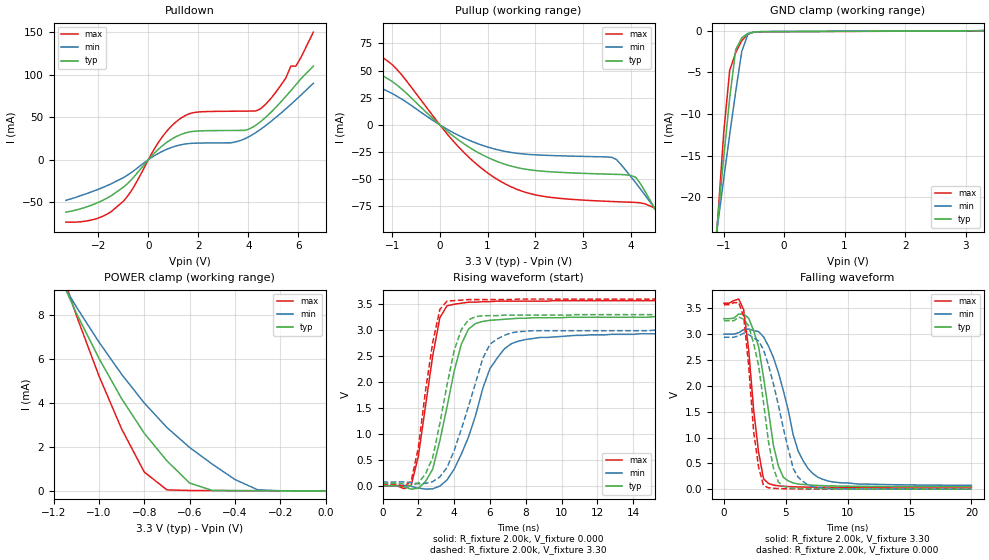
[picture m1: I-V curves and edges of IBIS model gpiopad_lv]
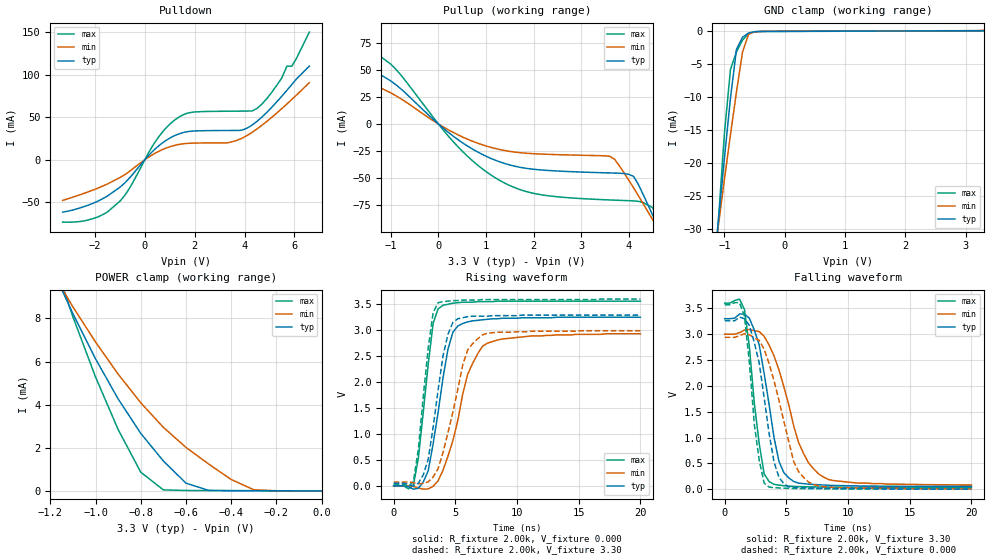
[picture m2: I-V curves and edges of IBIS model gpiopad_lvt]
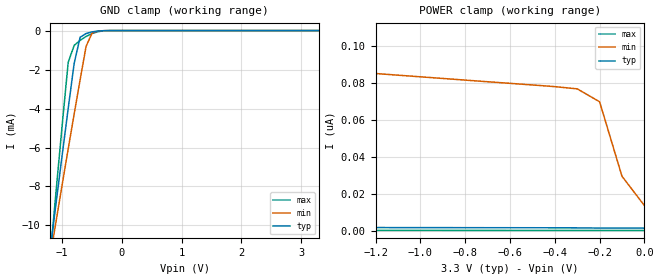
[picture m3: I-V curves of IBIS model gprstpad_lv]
| IBIS file m32a3t44.ibs created by s2ibis2 version 1.1
| North Carolina State University Electronics Research Laboratory  1995
[IBIS ver]   2.1
[File name]   m32a3t44.ibs
[File Rev]   1.0
[Date]   September 4, 2008
[Source]   Lars Snith
[Notes]   Property of Atmel Corporation
[Disclaimer] (C) Copyright ATMEL Norway 2006 Atmel Norway makes no warranty
                 for the use of its products, other than those explicitly
                 stated in the Company's standard warranty which is detailed in
                 Atmel's Terms and Conditions located on the Company's web
                 site. The Company assumes no responsibility for any errors
                 which may appear in this document. The user is granted this
                 license only to use the IBIS model and is not granted rights
                 to sell, load, rent, lease or license the IBIS model in whole
                 or in part, or in modified form to anyone other than user.
                 User may modify the IBIS model to suit its specific
                 applications but rights to derivative works and such
                 modifications shall belong to Atmel Norway. This IBIS model is
                 provided on an \"AS IS\" basis and Atmel Norway makes
                 absolutely no warranty with respect to the information
                 contained herein.
[Copyright]   Copyright (c) 2008 by ATMEL Norway
|   Component atmega32a_33_tqfp44
[Component]   atmega32a_33_tqfp44
[Manufacturer]   Atmel Corp.
[Package]
| variable   typ   min   max
R_pkg   17.30m   14.80m   19.80m
L_pkg   1.34nH   1.11nH   1.57nH
C_pkg   0.39pF   0.34pF   0.43pF
[Pin]  signal_name   model_name   R_pin   L_pin   C_pin
1   PB5   gpiopad_lv
| db5  db5   dummy
| enb5 enb5   dummy
2   PB6   gpiopad_lv
| db6  db6   dummy
| enb6 enb6   dummy
3   PB7   gpiopad_lv
| db7  db7   dummy
| enb7 enb7   dummy
4   RESET   gprstpad_lv
5   VCC   POWER
6   GND   GND
7   XTAL2   xtalpad_lv
| dx2  dx2   dummy
| enx2 enx2   dummy
8   XTAL1   xtalpad_lv
| dx1  dx1   dummy
| enx1 enx1   dummy
9   PD0   gpiopad_lv
| dd0  dd0   dummy
| end0 end0   dummy
10   PD1   gpiopad_lv
| dd1  dd1   dummy
| end1 end1   dummy
11   PD2   gpiopad_lv
| dd2  dd2   dummy
| end2 end2   dummy
12   PD3   gpiopad_lv
| dd3  dd3   dummy
| end3 end3   dummy
13   PD4   gpiopad_lv
| dd4  dd4   dummy
| end4 end4   dummy
14   PD5   gpiopad_lv
| dd5  dd5   dummy
| end5 end5   dummy
15   PD6   gpiopad_lv
| dd6  dd6   dummy
| end6 end6   dummy
16   PD7   gpiopad_lv
| dd7  dd7   dummy
| end7 end7   dummy
17   VCC   POWER
18   GND   GND
19   PC0   gpiopad_lvt
| dc0  dc0   dummy
| enc0 enc0   dummy
20   PC1   gpiopad_lvt
| dc1  dc1   dummy
| enc1 enc1   dummy
21   PC2   gpiopad_lv
| dc2  dc2   dummy
| enc2 enc2   dummy
22   PC3   gpiopad_lv
| dc3  dc3   dummy
| enc3 enc3   dummy
23   PC4   gpiopad_lv
| dc4  dc4   dummy
| enc4 enc4   dummy
24   PC5   gpiopad_lv
| dc5  dc5   dummy
| enc5 enc5   dummy
25   PC6   gpiopad_lv
| dc6  dc6   dummy
| enc6 enc6   dummy
26   PC7   gpiopad_lv
| dc7  dc7   dummy
| enc7 enc7   dummy
27   AVCC   POWER
28   GND   GND
29   AREF   gpiopad_aref_lv
| darefdaref   dummy
| enarfenarf   dummy
30   PA7   gpiopad_lv
| da7  da7   dummy
| ena7 ena7   dummy
31   PA6   gpiopad_lv
| da6  da6   dummy
| ena6 ena6   dummy
32   PA5   gpiopad_lv
| da5  da5   dummy
| ena5 ena5   dummy
33   PA4   gpiopad_lv
| da4  da4   dummy
| ena4 ena4   dummy
34   PA3   gpiopad_lv
| da3  da3   dummy
| ena3 ena3   dummy
35   PA2   gpiopad_lv
| da2  da2   dummy
| ena2 ena2   dummy
36   PA1   gpiopad_lv
| da1  da1   dummy
| ena1 ena1   dummy
37   PA0   gpiopad_lv
| da0  da0   dummy
| ena0 ena0   dummy
38   VCC   POWER
39   GND   GND
40   PB0   gpiopad_lv
| db0  db0   dummy
| enb0 enb0   dummy
41   PB1   gpiopad_lv
| db1  db1   dummy
| enb1 enb1   dummy
42   PB2   gpiopad_lv
| db2  db2   dummy
| enb2 enb2   dummy
43   PB3   gpiopad_lv
| db3  db3   dummy
| enb3 enb3   dummy
44   PB4   gpiopad_lv
| Models and submodels in the file (5): gpiopad_lv (I/O), gpiopad_aref_lv (I/O), gpiopad_lvt (I/O), gprstpad_lv (Input), xtalpad_lv (I/O)
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| db4  db4   dummy
| enb4 enb4   dummy
|   Model gpiopad_lv
[Model]   gpiopad_lv
Model_type   I/O
Polarity   Non-Inverting
Enable   Active-High
Vinl =   0.99V
Vinh =   2.31V
Vmeas =   1.65V
Cref =  50.00pF
C_comp   3.86pF   3.86pF   4.44pF
[Temperature Range]   27.00   0.12k   -55.00
[Voltage Range]   3.30V   3.00V   3.60V
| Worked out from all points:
|   slope of the pulldown table from 0 to 0.495 V, typ, clamps not added: 33.5 ohm
|   slope of the pullup table from 0 to 0.495 V, typ, clamps not added: 28.9 ohm
|   GND clamp passes 1 mA (typ) near -0.71 V on its own axis
|   POWER clamp passes 1 mA (typ) near -0.66 V on its own axis
|   rising waveform, R_fixture 2.00k, V_fixture 0.000: 20-80 % time 1.26ns typ, 1.81ns min, 933ps max; typ from 0 V to 3.26 V
|   rising waveform, R_fixture 2.00k, V_fixture 3.30: 20-80 % time 1.14ns typ, 1.59ns min, 877ps max; typ from 0.048 V to 3.3 V
|   falling waveform, R_fixture 2.00k, V_fixture 3.30: 20-80 % time 1.28ns typ, 1.98ns min, 884ps max; typ from 3.3 V to 0.048 V
|   falling waveform, R_fixture 2.00k, V_fixture 0.000: 20-80 % time 1.21ns typ, 1.75ns min, 832ps max; typ from 3.26 V to 0 V
[Pulldown]
| voltage   I(typ)   I(min)   I(max)
-3.3V     -61.5mA    -47.6mA    -73.2mA
-1.9V     -48.71mA   -33.44mA   -67.3mA
-1V       -32.22mA   -20.91mA   -48.63mA
500mV     14.99mA    9.09mA     24.63mA
1.4V      30.77mA    18.2mA     50.7mA
3.4V      34.44mA    20.44mA    57.06mA
3.9V      34.87mA    25.29mA    57.19mA
4.5V      45.02mA    36.01mA    60.17mA
5.3V      67.97mA    54.71mA    87.56mA
5.7V      81.23mA    65.08mA    110mA
5.9V      88.09mA    70.44mA    110mA
6.6V      110mA      89.91mA    150mA
[Pullup]
| voltage   I(typ)   I(min)   I(max)
-3.3V     73.26mA    61.97mA    90.3mA
-2.3V     66.32mA    52.27mA    85.8mA
-1.5V     53.29mA    39.65mA    72.08mA
-900mV    36.66mA    26.4mA     51.05mA
600mV     -20.16mA   -13.88mA   -29.46mA
1.6V      -39.09mA   -26.03mA   -59mA
3.6V      -45.39mA   -29.85mA   -70.47mA
4.1V      -48.09mA   -53.18mA   -71.32mA
4.5V      -76.74mA   -76.83mA   -76.49mA
4.7V      -92.84mA   -89.13mA   -94.91mA
4.9V      -110mA     -100mA     -120mA
6.6V      -260mA     -210mA     -320mA
[GND_clamp]
| voltage   I(typ)   I(min)   I(max)
-3.3V     -210mA     -160mA     -280mA
-1.2V     -30.51mA   -29.1mA    -33.74mA
-1.1V     -22.82mA   -23.41mA   -22.9mA
-1V       -15.31mA   -17.85mA   -12.37mA
-900mV    -8.07mA    -12.47mA   -4.75mA
-800mV    -2.26mA    -7.27mA    -2.61mA
-700mV    -840uA     -2.47mA    -1.19mA
-600mV    -310uA     -450uA     -400uA
-500mV    -150uA     -150uA     -160uA
-400mV    -120uA     -100uA     -130uA
3.3V      66.98pA    51.32uA    -9.62uA
[POWER_clamp]
| voltage   I(typ)   I(min)   I(max)
-3.3V     76.44mA    60.63mA    100mA
-1.2V     10.39mA    10.13mA    11.12mA
-1.1V     8.12mA     8.4mA      8.02mA
-1V       6.05mA     6.79mA     5.25mA
-900mV    4.21mA     5.32mA     2.83mA
-800mV    2.63mA     4.01mA     860uA
-700mV    1.37mA     2.89mA     47.27uA
-600mV    360uA      1.98mA     20.14uA
-500mV    23.78uA    1.22mA     16.05uA
-400mV    12.49uA    520uA      12.83uA
-300mV    9.23uA     51.32uA    9.62uA
0V        66.98pA    1.79nA     29.01pA
[Ramp]
| variable   typ   min   max
dV/dt_r   1.95/1.20n   1.76/1.86n   2.14/0.77n
dV/dt_f   1.95/1.23n   1.76/2.00n   2.14/0.76n
R_load = 2.00k
[Rising Waveform]
R_fixture = 2.00k
V_fixture = 0.000
V_fixture_min = 0.000
V_fixture_max = 0.000
| time   V(typ)   V(min)   V(max)
0s        0V         0V         0V
1.6ns     -66.01mV   -11.99mV   9.45mV
2ns       -46.91mV   -43.68mV   570mV
2.8ns     320mV      -60.31mV   2.5V
3.2ns     870mV      -5.7mV     3.24V
3.6ns     1.52V      110mV      3.47V
4.8ns     3.02V      940mV      3.54V
6ns       3.19V      2.26V      3.55V
7.2ns     3.22V      2.74V      3.56V
20ns      3.26V      2.94V      3.57V
[Rising Waveform]
R_fixture = 2.00k
V_fixture = 3.30
V_fixture_min = 3.00
V_fixture_max = 3.60
| time   V(typ)   V(min)   V(max)
0s        47.89mV    71.43mV    31.59mV
1.6ns     -3.96mV    59.91mV    88.03mV
2.8ns     540mV      78.61mV    2.76V
3.2ns     1.2V       170mV      3.4V
3.6ns     1.94V      350mV      3.56V
4ns       2.61V      680mV      3.57V
4.8ns     3.2V       1.53V      3.59V
5.6ns     3.28V      2.46V      3.59V
6.8ns     3.29V      2.9V       3.59V
20ns      3.3V       3V         3.6V
[Falling Waveform]
R_fixture = 2.00k
V_fixture = 3.30
V_fixture_min = 3.00
V_fixture_max = 3.60
| time   V(typ)   V(min)   V(max)
0s        3.3V       3V         3.6V
1.6ns     3.39V      3.09V      3.47V
2.8ns     2.76V      3.05V      720mV
3.2ns     2.17V      2.95V      200mV
3.6ns     1.52V      2.77V      110mV
4ns       850mV      2.55V      79.08mV
4.8ns     230mV      1.91V      55.96mV
6ns       99.86mV    740mV      42.77mV
7.6ns     71.85mV    230mV      36.6mV
20ns      48.18mV    74.45mV    31.6mV
[Falling Waveform]
R_fixture = 2.00k
V_fixture = 0.000
V_fixture_min = 0.000
V_fixture_max = 0.000
| time   V(typ)   V(min)   V(max)
0s        3.26V      2.94V      3.57V
1.2ns     3.33V      2.97V      3.61V
1.6ns     3.29V      3.02V      3.34V
2.4ns     2.82V      2.93V      1.12V
3.2ns     1.68V      2.7V       70.18mV
3.6ns     920mV      2.4V       26.58mV
4.4ns     140mV      1.63V      12.07mV
5.6ns     17.65mV    400mV      5.99mV
6.8ns     9.23mV     78.48mV    3.71mV
20ns      96.93uV    790uV      1.18uV
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|   Model gpiopad_lvt
[Model]   gpiopad_lvt
Model_type   I/O
Polarity   Non-Inverting
Enable   Active-High
Vinl =   0.99V
Vinh =   2.31V
Vmeas =   1.65V
Cref =  50.00pF
C_comp   4.09pF   4.08pF   4.65pF
[Temperature Range]   27.00   0.12k   -55.00
[Voltage Range]   3.30V   3.00V   3.60V
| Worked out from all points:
|   slope of the pulldown table from 0 to 0.495 V, typ, clamps not added: 33.5 ohm
|   slope of the pullup table from 0 to 0.495 V, typ, clamps not added: 28.9 ohm
|   GND clamp passes 1 mA (typ) near -0.70 V on its own axis
|   POWER clamp passes 1 mA (typ) near -0.66 V on its own axis
|   rising waveform, R_fixture 2.00k, V_fixture 0.000: 20-80 % time 1.3ns typ, 1.95ns min, 975ps max; typ from 0 V to 3.25 V
|   rising waveform, R_fixture 2.00k, V_fixture 3.30: 20-80 % time 1.21ns typ, 1.69ns min, 919ps max; typ from 0.048 V to 3.29 V
|   falling waveform, R_fixture 2.00k, V_fixture 3.30: 20-80 % time 1.36ns typ, 2.21ns min, 962ps max; typ from 3.3 V to 0.054 V
|   falling waveform, R_fixture 2.00k, V_fixture 0.000: 20-80 % time 1.28ns typ, 1.84ns min, 889ps max; typ from 3.26 V to 0.006 V
[Pulldown]
| voltage   I(typ)   I(min)   I(max)
-3.3V     -61.5mA    -47.7mA    -73.2mA
-1.9V     -48.8mA    -33.5mA    -67.3mA
-1V       -32.22mA   -20.92mA   -48.64mA
500mV     14.99mA    9.09mA     24.63mA
1.4V      30.77mA    18.2mA     50.7mA
3.4V      34.44mA    20.46mA    57.06mA
3.9V      34.88mA    25.4mA     57.19mA
4.5V      45.14mA    36.24mA    60.2mA
5.3V      68.25mA    55.09mA    87.75mA
5.7V      81.59mA    65.54mA    110mA
5.9V      88.49mA    70.94mA    110mA
6.6V      110mA      90.55mA    150mA
[Pullup]
| voltage   I(typ)   I(min)   I(max)
-3.3V     73.22mA    62mA       90.3mA
-2.3V     66.38mA    52.27mA    85.79mA
-1.5V     53.29mA    39.65mA    72.08mA
-900mV    36.66mA    26.4mA     51.06mA
500mV     -17.27mA   -11.92mA   -25.17mA
1.5V      -38mA      -25.4mA    -57.12mA
2.2V      -42.77mA   -27.95mA   -65.93mA
3.6V      -45.39mA   -29.96mA   -70.47mA
4.1V      -48.66mA   -59.3mA    -71.33mA
4.5V      -84.63mA   -88.97mA   -77.63mA
4.7V      -100mA     -100mA     -100mA
6.6V      -310mA     -260mA     -380mA
[GND_clamp]
| voltage   I(typ)   I(min)   I(max)
-3.3V     -260mA     -200mA     -350mA
-1.2V     -38.4mA    -36.69mA   -42.33mA
-1.1V     -28.75mA   -29.53mA   -28.77mA
-1V       -19.36mA   -22.54mA   -15.6mA
-900mV    -10.25mA   -15.78mA   -5.89mA
-800mV    -2.83mA    -9.26mA    -3.19mA
-700mV    -1mA       -3.24mA    -1.43mA
-600mV    -350uA     -550uA     -450uA
-500mV    -150uA     -170uA     -170uA
-300mV    -110uA     -93.79uA   -120uA
3.3V      86.18pA    54.02uA    -9.62uA
[POWER_clamp]
| voltage   I(typ)   I(min)   I(max)
-3.3V     76.98mA    61.2mA     100mA
-1.2V     10.51mA    10.3mA     11.2mA
-1.1V     8.22mA     8.54mA     8.08mA
-1V       6.13mA     6.91mA     5.29mA
-900mV    4.27mA     5.42mA     2.85mA
-800mV    2.67mA     4.09mA     870uA
-700mV    1.39mA     2.95mA     47.56uA
-600mV    360uA      2.02mA     20.14uA
-500mV    24.32uA    1.25mA     16.05uA
-400mV    12.5uA     530uA      12.83uA
-300mV    9.23uA     54.02uA    9.62uA
0V        86.19pA    2.16nA     43.32pA
[Ramp]
| variable   typ   min   max
dV/dt_r   1.95/1.27n   1.76/1.95n   2.14/0.81n
dV/dt_f   1.95/1.34n   1.75/2.18n   2.14/0.81n
R_load = 2.00k
[Rising Waveform]
R_fixture = 2.00k
V_fixture = 0.000
V_fixture_min = 0.000
V_fixture_max = 0.000
| time   V(typ)   V(min)   V(max)
0s        0V         0V         0V
1.6ns     -64.35mV   -11.37mV   5.13mV
2ns       -47.66mV   -42.2mV    530mV
2.8ns     290mV      -59.65mV   2.34V
3.2ns     810mV      -8.62mV    3.13V
3.6ns     1.41V      96.72mV    3.41V
4.8ns     2.96V      870mV      3.52V
6ns       3.16V      2.15V      3.54V
7.2ns     3.2V       2.69V      3.55V
20ns      3.25V      2.93V      3.56V
[Rising Waveform]
R_fixture = 2.00k
V_fixture = 3.30
V_fixture_min = 3.00
V_fixture_max = 3.60
| time   V(typ)   V(min)   V(max)
0s        47.89mV    71.43mV    31.59mV
1.6ns     -2.86mV    60.47mV    82.34mV
2ns       50.33mV    40.19mV    700mV
2.8ns     510mV      76.37mV    2.65V
3.2ns     1.13V      170mV      3.34V
3.6ns     1.84V      330mV      3.53V
4.8ns     3.15V      1.42V      3.57V
6ns       3.26V      2.62V      3.58V
7.2ns     3.27V      2.91V      3.59V
20ns      3.29V      2.99V      3.6V
[Falling Waveform]
R_fixture = 2.00k
V_fixture = 3.30
V_fixture_min = 3.00
V_fixture_max = 3.60
| time   V(typ)   V(min)   V(max)
0s        3.3V       3V         3.6V
1.6ns     3.39V      3.08V      3.48V
2.8ns     2.79V      3.05V      880mV
3.2ns     2.24V      2.96V      300mV
3.6ns     1.64V      2.79V      150mV
4.4ns     540mV      2.31V      81.37mV
4.8ns     320mV      1.98V      69.22mV
6ns       120mV      900mV      53.15mV
7.6ns     88.43mV    300mV      45.25mV
20ns      53.89mV    84.25mV    34.87mV
[Falling Waveform]
R_fixture = 2.00k
V_fixture = 0.000
V_fixture_min = 0.000
V_fixture_max = 0.000
| time   V(typ)   V(min)   V(max)
0s        3.26V      2.94V      3.57V
1.2ns     3.33V      2.97V      3.61V
1.6ns     3.3V       3.01V      3.35V
2.4ns     2.84V      2.93V      1.26V
2.8ns     2.44V      2.88V      560mV
3.6ns     1.08V      2.43V      42.55mV
4.4ns     230mV      1.72V      26.78mV
5.6ns     38.87mV    530mV      16.57mV
6.8ns     27.21mV    140mV      12.75mV
20ns      5.57mV     9.91mV     3.18mV
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|   Model gprstpad_lv
[Model]   gprstpad_lv
Model_type   Input
Polarity   Non-Inverting
Vinl =   0.99V
Vinh =   2.31V
C_comp   0.93pF   0.85pF   1.20pF
[Temperature Range]   27.00   0.12k   -55.00
[Voltage Range]   3.30V   3.00V   3.60V
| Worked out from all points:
|   GND clamp passes 1 mA (typ) near -0.75 V on its own axis
[GND_clamp]
| voltage   I(typ)   I(min)   I(max)
-3.3V     -66.69mA   -52.85mA   -90.15mA
-1.2V     -11.23mA   -11.58mA   -11.55mA
-1.1V     -8.78mA    -9.73mA    -8.15mA
-1V       -6.37mA    -7.89mA    -4.83mA
-900mV    -4mA       -6.07mA    -1.63mA
-800mV    -1.68mA    -4.28mA    -760uA
-700mV    -340uA     -2.52mA    -500uA
-600mV    -150uA     -800uA     -300uA
-500mV    -67.08uA   -130uA     -150uA
-400mV    -22.72uA   -25.16uA   -55.9uA
-300mV    -4.35uA    -4.53uA    -9.57uA
3.3V      1.49nA     76.99nA    220pA
[POWER_clamp]
| voltage   I(typ)   I(min)   I(max)
-3.3V     1.17uA     1.55uA     930nA
-3V       250nA      590nA      100nA
-2.9V     140nA      430nA      40.94nA
-2.8V     72.78nA    310nA      15.92nA
-2.7V     38.41nA    230nA      6.03nA
-2.6V     20.41nA    180nA      2.33nA
-2.2V     3.02nA     110nA      330pA
-1.8V     1.96nA     91.98nA    290pA
-300mV    1.64nA     76.99nA    240pA
-200mV    1.53nA     70nA       240pA
-100mV    1.5nA      29.62nA    240pA
0V        1.49nA     13.75nA    230pA
